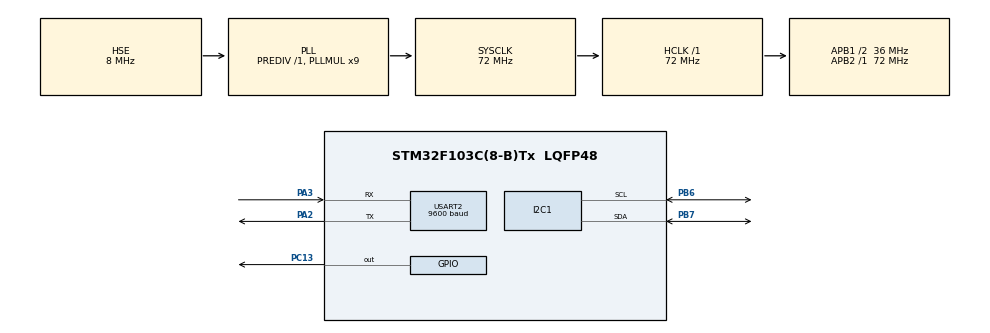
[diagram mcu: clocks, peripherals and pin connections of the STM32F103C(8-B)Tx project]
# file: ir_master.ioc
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Dma.I2C1_RX.0.Direction=DMA_PERIPH_TO_MEMORY
Dma.I2C1_RX.0.Instance=DMA1_Channel7
Dma.I2C1_RX.0.MemDataAlignment=DMA_MDATAALIGN_BYTE
Dma.I2C1_RX.0.MemInc=DMA_MINC_ENABLE
Dma.I2C1_RX.0.Mode=DMA_NORMAL
Dma.I2C1_RX.0.PeriphDataAlignment=DMA_PDATAALIGN_BYTE
Dma.I2C1_RX.0.PeriphInc=DMA_PINC_DISABLE
Dma.I2C1_RX.0.Priority=DMA_PRIORITY_LOW
Dma.I2C1_TX.1.Direction=DMA_MEMORY_TO_PERIPH
Dma.I2C1_TX.1.Instance=DMA1_Channel6
Dma.I2C1_TX.1.MemDataAlignment=DMA_MDATAALIGN_BYTE
Dma.I2C1_TX.1.MemInc=DMA_MINC_ENABLE
Dma.I2C1_TX.1.Mode=DMA_NORMAL
Dma.I2C1_TX.1.PeriphDataAlignment=DMA_PDATAALIGN_BYTE
Dma.I2C1_TX.1.PeriphInc=DMA_PINC_DISABLE
Dma.I2C1_TX.1.Priority=DMA_PRIORITY_LOW
Dma.Request0=I2C1_RX
Dma.Request1=I2C1_TX
I2C1.I2C_Mode=I2C_Fast
Mcu.Family=STM32F1
Mcu.Name=STM32F103C(8-B)Tx
Mcu.Package=LQFP48
NVIC.DMA1_Channel6_IRQn=true\:0\:0\:false\:false\:true\:false\:true\:true
NVIC.DMA1_Channel7_IRQn=true\:0\:0\:false\:false\:true\:false\:true\:true
NVIC.I2C1_ER_IRQn=true\:0\:0\:false\:false\:true\:true\:true\:true
NVIC.I2C1_EV_IRQn=true\:0\:0\:false\:false\:true\:true\:true\:true
NVIC.PriorityGroup=NVIC_PRIORITYGROUP_4
NVIC.USART2_IRQn=true\:0\:0\:false\:false\:true\:true\:true\:true
PA13.Mode=Serial_Wire
PA13.Signal=SYS_JTMS-SWDIO
PA14.Mode=Serial_Wire
PA14.Signal=SYS_JTCK-SWCLK
PA2.Mode=Asynchronous
PA2.Signal=USART2_TX
PA3.Mode=Asynchronous
PA3.Signal=USART2_RX
PB6.Mode=I2C
PB6.Signal=I2C1_SCL
PB7.Mode=I2C
PB7.Signal=I2C1_SDA
PC13-TAMPER-RTC.GPIO_ModeDefaultOutputPP=GPIO_MODE_OUTPUT_OD
PC13-TAMPER-RTC.GPIO_PuPd=GPIO_NOPULL
PC13-TAMPER-RTC.PinState=GPIO_PIN_SET
PC13-TAMPER-RTC.Signal=GPIO_Output
PD0-OSC_IN.Mode=HSE-External-Oscillator
PD0-OSC_IN.Signal=RCC_OSC_IN
PD1-OSC_OUT.Mode=HSE-External-Oscillator
PD1-OSC_OUT.Signal=RCC_OSC_OUT
ProjectManager.HeapSize=0x200
ProjectManager.StackSize=0x400
ProjectManager.TargetToolchain=CMake
RCC.AHBFreq_Value=72000000
RCC.APB1CLKDivider=RCC_HCLK_DIV2
RCC.APB1Freq_Value=36000000
RCC.APB1TimFreq_Value=72000000
RCC.APB2Freq_Value=72000000
RCC.APB2TimFreq_Value=72000000
RCC.HCLKFreq_Value=72000000
RCC.PLLMUL=RCC_PLL_MUL9
RCC.PLLSourceVirtual=RCC_PLLSOURCE_HSE
RCC.SYSCLKFreq_VALUE=72000000
RCC.SYSCLKSource=RCC_SYSCLKSOURCE_PLLCLK
RCC.USBFreq_Value=72000000
USART2.BaudRate=9600
USART2.VirtualMode=VM_ASYNC
board=custom

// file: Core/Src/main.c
/* USER CODE BEGIN Header */
/**
  ******************************************************************************
  * @file           : main.c
  * @brief          : Main program body
  ******************************************************************************
  * @attention
  *
  * Copyright (c) 2025 STMicroelectronics.
  * All rights reserved.
  *
  * This software is licensed under terms that can be found in the LICENSE file
  * in the root directory of this software component.
  * If no LICENSE file comes with this software, it is provided AS-IS.
  *
  ******************************************************************************
  */
/* USER CODE END Header */
#include "main.h"
#include "dma.h"
#include "i2c.h"
#include "stm32f1xx_hal_uart.h"
#include "usart.h"
#include "gpio.h"

/* USER CODE BEGIN Includes */
#include "i2c_master.h"
#include "data_uart.h"
#include "led.h"
#include "ir.h"
/* USER CODE END Includes */

void SystemClock_Config(void);

int main(void)
{

  /* MCU Configuration--------------------------------------------------------*/

  /* Reset of all peripherals, Initializes the Flash interface and the Systick. */
  HAL_Init();

  /* Configure the system clock */
  SystemClock_Config();

  /* Initialize all configured peripherals */
  MX_GPIO_Init();
  MX_DMA_Init();
  MX_I2C1_Init();
  MX_USART2_UART_Init();
  /* USER CODE BEGIN 2 */
  // Ensure LED initial state is OFF
  LED_Off();

  // Initialize UART for data output
  dataUart_Init(&huart2);

  // Initialize IR module
  IR_Init(&hi2c1, NULL);

  // Clear any possible residual states
  IR_ClearDataReady(SLAVE_1);

  // Brief delay for I2C slave device stabilization (if needed)
  HAL_Delay(10);  // Reduced from 100ms

  /* USER CODE END 2 */

  /* Infinite loop */
  /* USER CODE BEGIN WHILE */

  // Startup indicator: Flash 3 times to show system is ready
  LED_Flash(50, 3);

  uint32_t lastRequestTime = HAL_GetTick();
  const uint8_t dataFreq = 50; // in ms

  while (1) {
    // Request IR data every 50ms
    uint32_t currentTime = HAL_GetTick();
    if (currentTime - lastRequestTime >= dataFreq && !IR_IsDataReady(SLAVE_1)) {
      if (IR_ReadData(SLAVE_1) == HAL_OK) {
        lastRequestTime = currentTime;
      }
      // If HAL_BUSY or HAL_ERROR, will retry on next loop
    }

    // Check if data is ready
    if (IR_IsDataReady(SLAVE_1)) {
      LED_Flash(100, 1);  // Single flash to indicate data received

      // Display raw hex data for reference (uncomment if needed)
      // DisplayRawHexData(ProcessBuffer[SLAVE_1], IR_BUFFER_SIZE);

      // Parse and display as decimal values (now with ambient light removed)
      ParseAndDisplayIRData(ProcessBuffer[SLAVE_1], IR_BUFFER_SIZE);

      // updateValues();
      // char outputStr[100];
      // int len = snprintf(outputStr, sizeof(outputStr), "Max Eye: %d, Max Value: %d\r\n", maxEye, maxValue);
      // HAL_UART_Transmit(&huart2, (const uint8_t *)outputStr, len, HAL_MAX_DELAY);

      LED_Off();
      IR_ClearDataReady(SLAVE_1);
    }

    // Small delay to avoid excessive CPU usage
    HAL_Delay(1);
    /* USER CODE END WHILE */

  }
}

void SystemClock_Config(void)
{
  RCC_OscInitTypeDef RCC_OscInitStruct = {0};
  RCC_ClkInitTypeDef RCC_ClkInitStruct = {0};

  /** Initializes the RCC Oscillators according to the specified parameters
  * in the RCC_OscInitTypeDef structure.
  */
  RCC_OscInitStruct.OscillatorType = RCC_OSCILLATORTYPE_HSE;
  RCC_OscInitStruct.HSEState = RCC_HSE_ON;
  RCC_OscInitStruct.HSEPredivValue = RCC_HSE_PREDIV_DIV1;
  RCC_OscInitStruct.HSIState = RCC_HSI_ON;
  RCC_OscInitStruct.PLL.PLLState = RCC_PLL_ON;
  RCC_OscInitStruct.PLL.PLLSource = RCC_PLLSOURCE_HSE;
  RCC_OscInitStruct.PLL.PLLMUL = RCC_PLL_MUL9;
  if (HAL_RCC_OscConfig(&RCC_OscInitStruct) != HAL_OK)
  {
    Error_Handler();
  }

  /** Initializes the CPU, AHB and APB buses clocks
  */
  RCC_ClkInitStruct.ClockType = RCC_CLOCKTYPE_HCLK|RCC_CLOCKTYPE_SYSCLK
                              |RCC_CLOCKTYPE_PCLK1|RCC_CLOCKTYPE_PCLK2;
  RCC_ClkInitStruct.SYSCLKSource = RCC_SYSCLKSOURCE_PLLCLK;
  RCC_ClkInitStruct.AHBCLKDivider = RCC_SYSCLK_DIV1;
  RCC_ClkInitStruct.APB1CLKDivider = RCC_HCLK_DIV2;
  RCC_ClkInitStruct.APB2CLKDivider = RCC_HCLK_DIV1;

  if (HAL_RCC_ClockConfig(&RCC_ClkInitStruct, FLASH_LATENCY_2) != HAL_OK)
  {
    Error_Handler();
  }
}

void Error_Handler(void)
{
  __disable_irq();
  while (1)
  {
  }
}
